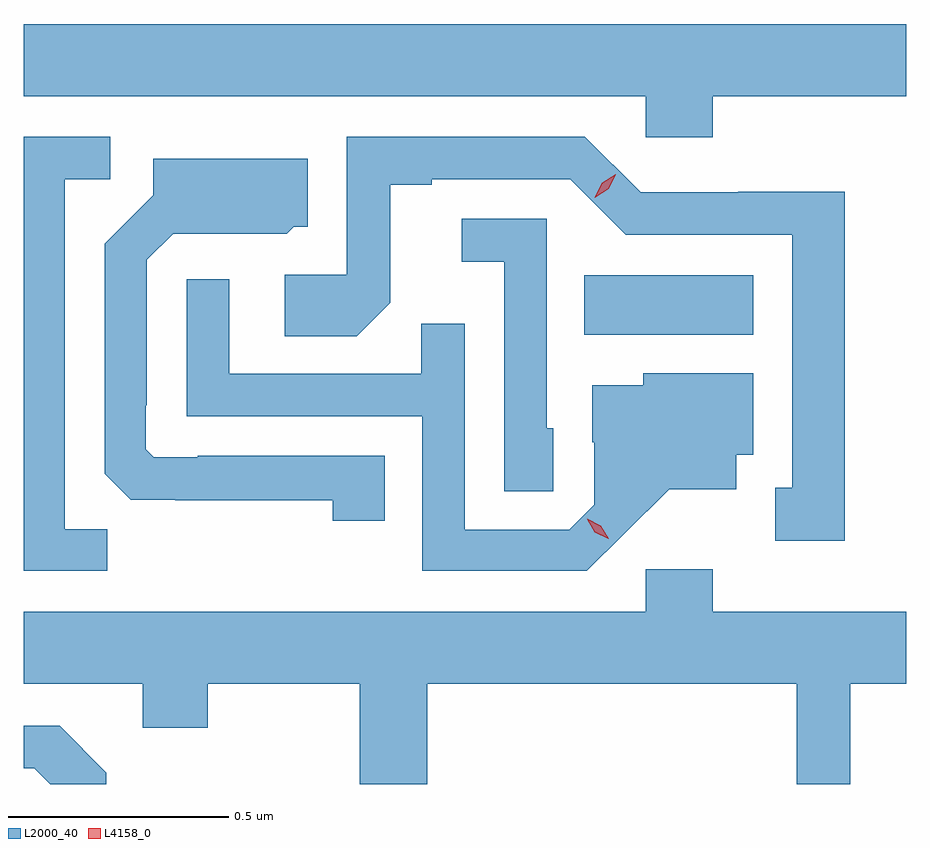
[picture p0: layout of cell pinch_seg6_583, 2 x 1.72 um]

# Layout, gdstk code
import gdstk
lib = gdstk.Library(unit=1e-6, precision=1e-09)
def R(c, l, rs):  # rectangles x0, y0, x1, y1
    for r in rs: c.add(gdstk.rectangle(r[:2], r[2:], *l))
def P(c, l, *ps):  # polygons
    for p in ps: c.add(gdstk.Polygon(p, *l))
L2000_40 = (2000, 40)
L4158_0 = (4158, 0)

pinch_seg6_583 = lib.new_cell('pinch_seg6_583')
R(pinch_seg6_583, L2000_40, [(599.572,957.452,599.956,957.586)])
P(pinch_seg6_583, L2000_40, [(599.864,957.992),(600.302,957.992),(600.302,958.156),(598.302,958.156),(598.302,957.992),(599.712,957.992),(599.712,957.899),(599.864,957.899)],
  [(598.491,957.011),(598.395,957.011),(598.395,957.804),(598.498,957.804),(598.498,957.9),(598.302,957.9),(598.302,956.916),(598.491,956.916)],
  [(600.163,957.776),(599.922,957.776),(599.922,957.774),(599.7,957.774),(599.574,957.9),(599.034,957.9),(599.034,957.588),(598.893,957.588),(598.893,957.448),(599.057,957.448),(599.133,957.524),(599.133,957.792),(599.227,957.792),(599.227,957.804),(599.541,957.804),(599.667,957.678),(600.044,957.678),(600.044,957.105),(600.005,957.105),(600.005,956.985),(600.163,956.985)],
  [(599.12,957.177),(598.696,957.177),(598.696,957.174),(598.596,957.174),(598.578,957.192),(598.578,957.292),(598.581,957.292),(598.581,957.621),(598.641,957.681),(598.764,957.681),(598.764,957.68),(598.898,957.68),(598.914,957.696),(598.945,957.696),(598.945,957.85),(598.595,957.85),(598.595,957.768),(598.485,957.658),(598.485,957.136),(598.544,957.077),(598.645,957.077),(598.645,957.076),(599.002,957.076),(599.002,957.03),(599.12,957.03)],
  [(599.502,957.24),(599.487,957.24),(599.487,957.714),(599.295,957.714),(599.295,957.617),(599.391,957.617),(599.391,957.097),(599.502,957.097)],
  [(599.662,956.999),(599.765,957.101),(599.917,957.101),(599.917,957.18),(599.956,957.18),(599.956,957.364),(599.706,957.364),(599.706,957.337),(599.591,957.337),(599.591,957.208),(599.595,957.208),(599.595,957.066),(599.538,957.009),(599.301,957.009),(599.301,957.476),(599.203,957.476),(599.203,957.363),(598.767,957.363),(598.767,957.577),(598.671,957.577),(598.671,957.267),(599.205,957.267),(599.205,956.916),(599.578,956.916)],
  [(599.216,956.66),(600.054,956.66),(600.054,956.433),(600.175,956.433),(600.175,956.66),(600.302,956.66),(600.302,956.824),(599.864,956.824),(599.864,956.92),(599.712,956.92),(599.712,956.824),(598.302,956.824),(598.302,956.66),(598.571,956.66),(598.571,956.561),(598.719,956.561),(598.719,956.66),(599.063,956.66),(599.063,956.433),(599.216,956.433)],
  [(598.489,956.459),(598.383,956.565),(598.302,956.565),(598.302,956.469),(598.326,956.469),(598.362,956.433),(598.489,956.433)])
P(pinch_seg6_583, L4158_0, [(599.596,957.762),(599.596,957.763),(599.613,957.796),(599.644,957.815),(599.644,957.815),(599.644,957.815),(599.628,957.782),(599.596,957.762)],
  [(599.627,956.989),(599.596,957.004),(599.579,957.033),(599.579,957.034),(599.579,957.034),(599.61,957.019),(599.628,956.989),(599.628,956.989)])

lib.write_gds('pinch_seg6_583.gds')
